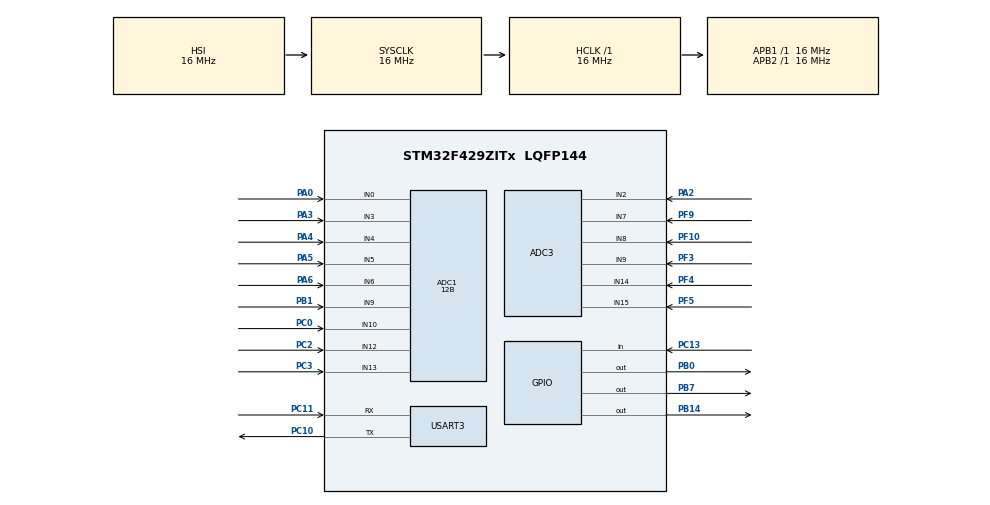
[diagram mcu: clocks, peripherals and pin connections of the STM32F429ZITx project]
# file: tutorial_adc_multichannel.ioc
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ADC1.Channel-10\#ChannelRegularConversion=ADC_CHANNEL_5
ADC1.Channel-11\#ChannelRegularConversion=ADC_CHANNEL_6
ADC1.Channel-12\#ChannelRegularConversion=ADC_CHANNEL_9
ADC1.Channel-15\#ChannelRegularConversion=ADC_CHANNEL_0
ADC1.Channel-5\#ChannelRegularConversion=ADC_CHANNEL_3
ADC1.Channel-6\#ChannelRegularConversion=ADC_CHANNEL_10
ADC1.Channel-7\#ChannelRegularConversion=ADC_CHANNEL_13
ADC1.Channel-8\#ChannelRegularConversion=ADC_CHANNEL_12
ADC1.Channel-9\#ChannelRegularConversion=ADC_CHANNEL_4
ADC1.ClockPrescaler=ADC_CLOCK_SYNC_PCLK_DIV8
ADC1.ContinuousConvMode=ENABLE
ADC1.DMAContinuousRequests=ENABLE
ADC1.InjNumberOfConversion=0
ADC1.NbrOfConversion=9
ADC1.NbrOfConversionFlag=1
ADC1.Rank-10\#ChannelRegularConversion=6
ADC1.Rank-11\#ChannelRegularConversion=7
ADC1.Rank-12\#ChannelRegularConversion=8
ADC1.Rank-15\#ChannelRegularConversion=9
ADC1.Rank-5\#ChannelRegularConversion=1
ADC1.Rank-6\#ChannelRegularConversion=2
ADC1.Rank-7\#ChannelRegularConversion=3
ADC1.Rank-8\#ChannelRegularConversion=4
ADC1.Rank-9\#ChannelRegularConversion=5
ADC1.Resolution=ADC_RESOLUTION_12B
ADC1.SamplingTime-10\#ChannelRegularConversion=ADC_SAMPLETIME_480CYCLES
ADC1.SamplingTime-11\#ChannelRegularConversion=ADC_SAMPLETIME_480CYCLES
ADC1.SamplingTime-12\#ChannelRegularConversion=ADC_SAMPLETIME_480CYCLES
ADC1.SamplingTime-15\#ChannelRegularConversion=ADC_SAMPLETIME_480CYCLES
ADC1.SamplingTime-5\#ChannelRegularConversion=ADC_SAMPLETIME_480CYCLES
ADC1.SamplingTime-6\#ChannelRegularConversion=ADC_SAMPLETIME_480CYCLES
ADC1.SamplingTime-7\#ChannelRegularConversion=ADC_SAMPLETIME_480CYCLES
ADC1.SamplingTime-8\#ChannelRegularConversion=ADC_SAMPLETIME_480CYCLES
ADC1.SamplingTime-9\#ChannelRegularConversion=ADC_SAMPLETIME_480CYCLES
ADC1.master=1
ADC3.Channel-10\#ChannelRegularConversion=ADC_CHANNEL_7
ADC3.Channel-11\#ChannelRegularConversion=ADC_CHANNEL_2
ADC3.Channel-12\#ChannelRegularConversion=ADC_CHANNEL_8
ADC3.Channel-13\#ChannelRegularConversion=ADC_CHANNEL_14
ADC3.Channel-8\#ChannelRegularConversion=ADC_CHANNEL_9
ADC3.Channel-9\#ChannelRegularConversion=ADC_CHANNEL_15
ADC3.ClockPrescaler=ADC_CLOCK_SYNC_PCLK_DIV8
ADC3.ContinuousConvMode=ENABLE
ADC3.DMAContinuousRequests=ENABLE
ADC3.NbrOfConversion=6
ADC3.NbrOfConversionFlag=1
ADC3.Rank-10\#ChannelRegularConversion=3
ADC3.Rank-11\#ChannelRegularConversion=4
ADC3.Rank-12\#ChannelRegularConversion=5
ADC3.Rank-13\#ChannelRegularConversion=6
ADC3.Rank-8\#ChannelRegularConversion=1
ADC3.Rank-9\#ChannelRegularConversion=2
ADC3.SamplingTime-10\#ChannelRegularConversion=ADC_SAMPLETIME_480CYCLES
ADC3.SamplingTime-11\#ChannelRegularConversion=ADC_SAMPLETIME_480CYCLES
ADC3.SamplingTime-12\#ChannelRegularConversion=ADC_SAMPLETIME_480CYCLES
ADC3.SamplingTime-13\#ChannelRegularConversion=ADC_SAMPLETIME_480CYCLES
ADC3.SamplingTime-8\#ChannelRegularConversion=ADC_SAMPLETIME_480CYCLES
ADC3.SamplingTime-9\#ChannelRegularConversion=ADC_SAMPLETIME_480CYCLES
ADC3.ScanConvMode=ENABLE
Dma.ADC1.0.Direction=DMA_PERIPH_TO_MEMORY
Dma.ADC1.0.FIFOMode=DMA_FIFOMODE_DISABLE
Dma.ADC1.0.Instance=DMA2_Stream0
Dma.ADC1.0.MemDataAlignment=DMA_MDATAALIGN_WORD
Dma.ADC1.0.MemInc=DMA_MINC_ENABLE
Dma.ADC1.0.Mode=DMA_CIRCULAR
Dma.ADC1.0.PeriphDataAlignment=DMA_PDATAALIGN_WORD
Dma.ADC1.0.PeriphInc=DMA_PINC_DISABLE
Dma.ADC1.0.Priority=DMA_PRIORITY_LOW
Dma.ADC3.1.Direction=DMA_PERIPH_TO_MEMORY
Dma.ADC3.1.FIFOMode=DMA_FIFOMODE_DISABLE
Dma.ADC3.1.Instance=DMA2_Stream1
Dma.ADC3.1.MemDataAlignment=DMA_MDATAALIGN_WORD
Dma.ADC3.1.MemInc=DMA_MINC_ENABLE
Dma.ADC3.1.Mode=DMA_CIRCULAR
Dma.ADC3.1.PeriphDataAlignment=DMA_PDATAALIGN_WORD
Dma.ADC3.1.PeriphInc=DMA_PINC_DISABLE
Dma.ADC3.1.Priority=DMA_PRIORITY_LOW
Dma.Request0=ADC1
Dma.Request1=ADC3
Mcu.Family=STM32F4
Mcu.Name=STM32F429ZITx
Mcu.Package=LQFP144
NVIC.DMA2_Stream0_IRQn=true\:0\:0\:false\:false\:true\:false\:true
NVIC.DMA2_Stream1_IRQn=true\:0\:0\:false\:false\:true\:false\:true
NVIC.PriorityGroup=NVIC_PRIORITYGROUP_4
PA0/WKUP.Signal=ADCx_IN0
PA2.Signal=ADCx_IN2
PA3.Signal=ADCx_IN3
PA4.Signal=ADCx_IN4
PA5.Signal=ADCx_IN5
PA6.Signal=ADCx_IN6
PB0.Signal=GPIO_Output
PB1.Signal=ADCx_IN9
PB14.Signal=GPIO_Output
PB7.Signal=GPIO_Output
PC0.Signal=ADCx_IN10
PC10.GPIO_Speed=GPIO_SPEED_FREQ_VERY_HIGH
PC10.Mode=Asynchronous
PC10.Signal=USART3_TX
PC11.GPIO_Speed=GPIO_SPEED_FREQ_VERY_HIGH
PC11.Mode=Asynchronous
PC11.Signal=USART3_RX
PC13.Signal=GPIO_Input
PC2.Signal=ADCx_IN12
PC3.Signal=ADCx_IN13
PF10.Mode=IN8
PF10.Signal=ADC3_IN8
PF3.Mode=IN9
PF3.Signal=ADC3_IN9
PF4.Mode=IN14
PF4.Signal=ADC3_IN14
PF5.Mode=IN15
PF5.Signal=ADC3_IN15
PF9.Mode=IN7
PF9.Signal=ADC3_IN7
ProjectManager.HeapSize=0x200
ProjectManager.StackSize=0x400
ProjectManager.TargetToolchain=STM32CubeIDE
RCC.AHBFreq_Value=16000000
RCC.APB1Freq_Value=16000000
RCC.APB2Freq_Value=16000000
RCC.CortexFreq_Value=16000000
RCC.HSE_VALUE=25000000
RCC.HSI_VALUE=16000000
RCC.LSE_VALUE=32768
RCC.SYSCLKFreq_VALUE=16000000
RCC.VCOOutputFreq_Value=192000000
SH.ADCx_IN0.0=ADC1_IN0,IN0
SH.ADCx_IN10.0=ADC1_IN10,IN10
SH.ADCx_IN12.0=ADC1_IN12,IN12
SH.ADCx_IN13.0=ADC1_IN13,IN13
SH.ADCx_IN2.0=ADC3_IN2,IN2
SH.ADCx_IN3.0=ADC1_IN3,IN3
SH.ADCx_IN4.0=ADC1_IN4,IN4
SH.ADCx_IN5.0=ADC1_IN5,IN5
SH.ADCx_IN6.0=ADC1_IN6,IN6
SH.ADCx_IN9.0=ADC1_IN9,IN9
USART3.VirtualMode=VM_ASYNC
board=custom

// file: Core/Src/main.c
/* USER CODE BEGIN Header */
/**
 ******************************************************************************
 * @file           : main.c
 * @brief          : Main program body
 ******************************************************************************
 * @attention
 *
 * <h2><center>&copy; Copyright (c) 2021 STMicroelectronics.
 * All rights reserved.</center></h2>
 *
 * This software component is licensed by ST under BSD 3-Clause license,
 * the "License"; You may not use this file except in compliance with the
 * License. You may obtain a copy of the License at:
 *                        opensource.org/licenses/BSD-3-Clause
 *
 ******************************************************************************
 */
/* USER CODE END Header */
#include "main.h"

/* USER CODE BEGIN PTD */
#include <math.h>

/* USER CODE END PTD */

ADC_HandleTypeDef hadc1;
ADC_HandleTypeDef hadc3;
DMA_HandleTypeDef hdma_adc1;
DMA_HandleTypeDef hdma_adc3;

UART_HandleTypeDef huart3;

void SystemClock_Config(void);
static void MX_GPIO_Init(void);
static void MX_DMA_Init(void);
static void MX_USART3_UART_Init(void);
static void MX_ADC1_Init(void);
static void MX_ADC3_Init(void);

/* USER CODE BEGIN 0 */
/*
 int fputc(int ch, FILE * f)
 {
 HAL_UART_Transmit(&huart3, (uint8_t *)&ch, 1, 0xFFFF);

 return ch;
 }
 */
int _write(int file, char *p, int len) {
	for (int i = 0; i < len; i++) {
		HAL_UART_Transmit(&huart3, (uint8_t*) (p + i), 1, 0xFFFF);
		HAL_Delay(1);
	}
	return len;
}

#define ADC1_NUM 9
#define ADC2_NUM 1
#define ADC3_NUM 6
uint32_t ADC1Result[ADC1_NUM];
// uint32_t ADC2Result[ADC2_NUM];
uint32_t ADC3Result[ADC3_NUM];

/* USER CODE END 0 */

int main(void)
{

  /* MCU Configuration--------------------------------------------------------*/

  /* Reset of all peripherals, Initializes the Flash interface and the Systick. */
  HAL_Init();

  /* Configure the system clock */
  SystemClock_Config();

  /* Initialize all configured peripherals */
  MX_GPIO_Init();
  MX_DMA_Init();
  MX_USART3_UART_Init();
  MX_ADC1_Init();
  MX_ADC3_Init();
  /* USER CODE BEGIN 2 */
  HAL_ADC_Start_DMA(&hadc1, (uint32_t *)ADC1Result, ADC1_NUM);
  // HAL_ADC_Start_DMA(&hadc2, (uint32_t *)ADC2Result, ADC2_NUM);
  HAL_ADC_Start_DMA(&hadc3, (uint32_t *)ADC3Result, ADC3_NUM);
  /* USER CODE END 2 */

  /* Infinite loop */
  /* USER CODE BEGIN WHILE */
	while (1) {

		 //HAL_ADC_Start(&hadc1);  // start using ADC
		 //HAL_ADC_PollForConversion(&hadc1, 10);  //set adc address and time out value
		 //uint16_t adcValue = HAL_ADC_GetValue(&hadc1);  // get adc value

		 //HAL_ADC_Start(&hadc3);  // start using ADC
		 //HAL_ADC_PollForConversion(&hadc3, 10);  //set adc address and time out value
		 //uint16_t adcValue2 = HAL_ADC_GetValue(&hadc2);  // get adc value

		 // printf("adc : %d, %d\n", adcValue, adcValue2);
		printf("%d,%d,%d,%d,%d,%d,%d,%d,%d,%d,%d,%d,%d,%d,%d\r\n",
				ADC1Result[0], ADC1Result[1], ADC1Result[2], ADC1Result[3], ADC1Result[4], ADC1Result[5], ADC1Result[6], ADC1Result[7], ADC1Result[8],
				ADC3Result[0], ADC3Result[1], ADC3Result[2], ADC3Result[3], ADC3Result[4], ADC3Result[5]);

		HAL_Delay(100);

    /* USER CODE END WHILE */

	}
}

void SystemClock_Config(void)
{
  RCC_OscInitTypeDef RCC_OscInitStruct = {0};
  RCC_ClkInitTypeDef RCC_ClkInitStruct = {0};

  /** Configure the main internal regulator output voltage
  */
  __HAL_RCC_PWR_CLK_ENABLE();
  __HAL_PWR_VOLTAGESCALING_CONFIG(PWR_REGULATOR_VOLTAGE_SCALE3);
  /** Initializes the RCC Oscillators according to the specified parameters
  * in the RCC_OscInitTypeDef structure.
  */
  RCC_OscInitStruct.OscillatorType = RCC_OSCILLATORTYPE_HSI;
  RCC_OscInitStruct.HSIState = RCC_HSI_ON;
  RCC_OscInitStruct.HSICalibrationValue = RCC_HSICALIBRATION_DEFAULT;
  RCC_OscInitStruct.PLL.PLLState = RCC_PLL_NONE;
  if (HAL_RCC_OscConfig(&RCC_OscInitStruct) != HAL_OK)
  {
    Error_Handler();
  }
  /** Initializes the CPU, AHB and APB buses clocks
  */
  RCC_ClkInitStruct.ClockType = RCC_CLOCKTYPE_HCLK|RCC_CLOCKTYPE_SYSCLK
                              |RCC_CLOCKTYPE_PCLK1|RCC_CLOCKTYPE_PCLK2;
  RCC_ClkInitStruct.SYSCLKSource = RCC_SYSCLKSOURCE_HSI;
  RCC_ClkInitStruct.AHBCLKDivider = RCC_SYSCLK_DIV1;
  RCC_ClkInitStruct.APB1CLKDivider = RCC_HCLK_DIV1;
  RCC_ClkInitStruct.APB2CLKDivider = RCC_HCLK_DIV1;

  if (HAL_RCC_ClockConfig(&RCC_ClkInitStruct, FLASH_LATENCY_0) != HAL_OK)
  {
    Error_Handler();
  }
}

static void MX_ADC1_Init(void)
{

  ADC_ChannelConfTypeDef sConfig = {0};

  /** Configure the global features of the ADC (Clock, Resolution, Data Alignment and number of conversion)
  */
  hadc1.Instance = ADC1;
  hadc1.Init.ClockPrescaler = ADC_CLOCK_SYNC_PCLK_DIV8;
  hadc1.Init.Resolution = ADC_RESOLUTION_12B;
  hadc1.Init.ScanConvMode = ENABLE;
  hadc1.Init.ContinuousConvMode = ENABLE;
  hadc1.Init.DiscontinuousConvMode = DISABLE;
  hadc1.Init.ExternalTrigConvEdge = ADC_EXTERNALTRIGCONVEDGE_NONE;
  hadc1.Init.ExternalTrigConv = ADC_SOFTWARE_START;
  hadc1.Init.DataAlign = ADC_DATAALIGN_RIGHT;
  hadc1.Init.NbrOfConversion = 9;
  hadc1.Init.DMAContinuousRequests = ENABLE;
  hadc1.Init.EOCSelection = ADC_EOC_SINGLE_CONV;
  if (HAL_ADC_Init(&hadc1) != HAL_OK)
  {
    Error_Handler();
  }
  /** Configure for the selected ADC regular channel its corresponding rank in the sequencer and its sample time.
  */
  sConfig.Channel = ADC_CHANNEL_3;
  sConfig.Rank = 1;
  sConfig.SamplingTime = ADC_SAMPLETIME_480CYCLES;
  if (HAL_ADC_ConfigChannel(&hadc1, &sConfig) != HAL_OK)
  {
    Error_Handler();
  }
  /** Configure for the selected ADC regular channel its corresponding rank in the sequencer and its sample time.
  */
  sConfig.Channel = ADC_CHANNEL_10;
  sConfig.Rank = 2;
  if (HAL_ADC_ConfigChannel(&hadc1, &sConfig) != HAL_OK)
  {
    Error_Handler();
  }
  /** Configure for the selected ADC regular channel its corresponding rank in the sequencer and its sample time.
  */
  sConfig.Channel = ADC_CHANNEL_13;
  sConfig.Rank = 3;
  if (HAL_ADC_ConfigChannel(&hadc1, &sConfig) != HAL_OK)
  {
    Error_Handler();
  }
  /** Configure for the selected ADC regular channel its corresponding rank in the sequencer and its sample time.
  */
  sConfig.Channel = ADC_CHANNEL_12;
  sConfig.Rank = 4;
  if (HAL_ADC_ConfigChannel(&hadc1, &sConfig) != HAL_OK)
  {
    Error_Handler();
  }
  /** Configure for the selected ADC regular channel its corresponding rank in the sequencer and its sample time.
  */
  sConfig.Channel = ADC_CHANNEL_4;
  sConfig.Rank = 5;
  if (HAL_ADC_ConfigChannel(&hadc1, &sConfig) != HAL_OK)
  {
    Error_Handler();
  }
  /** Configure for the selected ADC regular channel its corresponding rank in the sequencer and its sample time.
  */
  sConfig.Channel = ADC_CHANNEL_5;
  sConfig.Rank = 6;
  if (HAL_ADC_ConfigChannel(&hadc1, &sConfig) != HAL_OK)
  {
    Error_Handler();
  }
  /** Configure for the selected ADC regular channel its corresponding rank in the sequencer and its sample time.
  */
  sConfig.Channel = ADC_CHANNEL_6;
  sConfig.Rank = 7;
  if (HAL_ADC_ConfigChannel(&hadc1, &sConfig) != HAL_OK)
  {
    Error_Handler();
  }
  /** Configure for the selected ADC regular channel its corresponding rank in the sequencer and its sample time.
  */
  sConfig.Channel = ADC_CHANNEL_9;
  sConfig.Rank = 8;
  if (HAL_ADC_ConfigChannel(&hadc1, &sConfig) != HAL_OK)
  {
    Error_Handler();
  }
  /** Configure for the selected ADC regular channel its corresponding rank in the sequencer and its sample time.
  */
  sConfig.Channel = ADC_CHANNEL_0;
  sConfig.Rank = 9;
  if (HAL_ADC_ConfigChannel(&hadc1, &sConfig) != HAL_OK)
  {
    Error_Handler();
  }

}

static void MX_ADC3_Init(void)
{

  ADC_ChannelConfTypeDef sConfig = {0};

  /** Configure the global features of the ADC (Clock, Resolution, Data Alignment and number of conversion)
  */
  hadc3.Instance = ADC3;
  hadc3.Init.ClockPrescaler = ADC_CLOCK_SYNC_PCLK_DIV8;
  hadc3.Init.Resolution = ADC_RESOLUTION_12B;
  hadc3.Init.ScanConvMode = ENABLE;
  hadc3.Init.ContinuousConvMode = ENABLE;
  hadc3.Init.DiscontinuousConvMode = DISABLE;
  hadc3.Init.ExternalTrigConvEdge = ADC_EXTERNALTRIGCONVEDGE_NONE;
  hadc3.Init.ExternalTrigConv = ADC_SOFTWARE_START;
  hadc3.Init.DataAlign = ADC_DATAALIGN_RIGHT;
  hadc3.Init.NbrOfConversion = 6;
  hadc3.Init.DMAContinuousRequests = ENABLE;
  hadc3.Init.EOCSelection = ADC_EOC_SINGLE_CONV;
  if (HAL_ADC_Init(&hadc3) != HAL_OK)
  {
    Error_Handler();
  }
  /** Configure for the selected ADC regular channel its corresponding rank in the sequencer and its sample time.
  */
  sConfig.Channel = ADC_CHANNEL_9;
  sConfig.Rank = 1;
  sConfig.SamplingTime = ADC_SAMPLETIME_480CYCLES;
  if (HAL_ADC_ConfigChannel(&hadc3, &sConfig) != HAL_OK)
  {
    Error_Handler();
  }
  /** Configure for the selected ADC regular channel its corresponding rank in the sequencer and its sample time.
  */
  sConfig.Channel = ADC_CHANNEL_15;
  sConfig.Rank = 2;
  if (HAL_ADC_ConfigChannel(&hadc3, &sConfig) != HAL_OK)
  {
    Error_Handler();
  }
  /** Configure for the selected ADC regular channel its corresponding rank in the sequencer and its sample time.
  */
  sConfig.Channel = ADC_CHANNEL_7;
  sConfig.Rank = 3;
  if (HAL_ADC_ConfigChannel(&hadc3, &sConfig) != HAL_OK)
  {
    Error_Handler();
  }
  /** Configure for the selected ADC regular channel its corresponding rank in the sequencer and its sample time.
  */
  sConfig.Channel = ADC_CHANNEL_2;
  sConfig.Rank = 4;
  if (HAL_ADC_ConfigChannel(&hadc3, &sConfig) != HAL_OK)
  {
    Error_Handler();
  }
  /** Configure for the selected ADC regular channel its corresponding rank in the sequencer and its sample time.
  */
  sConfig.Channel = ADC_CHANNEL_8;
  sConfig.Rank = 5;
  if (HAL_ADC_ConfigChannel(&hadc3, &sConfig) != HAL_OK)
  {
    Error_Handler();
  }
  /** Configure for the selected ADC regular channel its corresponding rank in the sequencer and its sample time.
  */
  sConfig.Channel = ADC_CHANNEL_14;
  sConfig.Rank = 6;
  if (HAL_ADC_ConfigChannel(&hadc3, &sConfig) != HAL_OK)
  {
    Error_Handler();
  }

}

static void MX_USART3_UART_Init(void)
{

  huart3.Instance = USART3;
  huart3.Init.BaudRate = 115200;
  huart3.Init.WordLength = UART_WORDLENGTH_8B;
  huart3.Init.StopBits = UART_STOPBITS_1;
  huart3.Init.Parity = UART_PARITY_NONE;
  huart3.Init.Mode = UART_MODE_TX_RX;
  huart3.Init.HwFlowCtl = UART_HWCONTROL_NONE;
  huart3.Init.OverSampling = UART_OVERSAMPLING_16;
  if (HAL_UART_Init(&huart3) != HAL_OK)
  {
    Error_Handler();
  }

}

static void MX_DMA_Init(void)
{

  /* DMA controller clock enable */
  __HAL_RCC_DMA2_CLK_ENABLE();

  /* DMA interrupt init */
  /* DMA2_Stream0_IRQn interrupt configuration */
  HAL_NVIC_SetPriority(DMA2_Stream0_IRQn, 0, 0);
  HAL_NVIC_EnableIRQ(DMA2_Stream0_IRQn);
  /* DMA2_Stream1_IRQn interrupt configuration */
  HAL_NVIC_SetPriority(DMA2_Stream1_IRQn, 0, 0);
  HAL_NVIC_EnableIRQ(DMA2_Stream1_IRQn);

}

static void MX_GPIO_Init(void)
{
  GPIO_InitTypeDef GPIO_InitStruct = {0};

  /* GPIO Ports Clock Enable */
  __HAL_RCC_GPIOC_CLK_ENABLE();
  __HAL_RCC_GPIOF_CLK_ENABLE();
  __HAL_RCC_GPIOA_CLK_ENABLE();
  __HAL_RCC_GPIOB_CLK_ENABLE();

  /*Configure GPIO pin Output Level */
  HAL_GPIO_WritePin(GPIOB, GPIO_PIN_0|GPIO_PIN_14|GPIO_PIN_7, GPIO_PIN_RESET);

  /*Configure GPIO pin : PC13 */
  GPIO_InitStruct.Pin = GPIO_PIN_13;
  GPIO_InitStruct.Mode = GPIO_MODE_INPUT;
  GPIO_InitStruct.Pull = GPIO_NOPULL;
  HAL_GPIO_Init(GPIOC, &GPIO_InitStruct);

  /*Configure GPIO pins : PB0 PB14 PB7 */
  GPIO_InitStruct.Pin = GPIO_PIN_0|GPIO_PIN_14|GPIO_PIN_7;
  GPIO_InitStruct.Mode = GPIO_MODE_OUTPUT_PP;
  GPIO_InitStruct.Pull = GPIO_NOPULL;
  GPIO_InitStruct.Speed = GPIO_SPEED_FREQ_LOW;
  HAL_GPIO_Init(GPIOB, &GPIO_InitStruct);

}

void Error_Handler(void)
{
}

/************************ (C) COPYRIGHT STMicroelectronics *****END OF FILE****/
